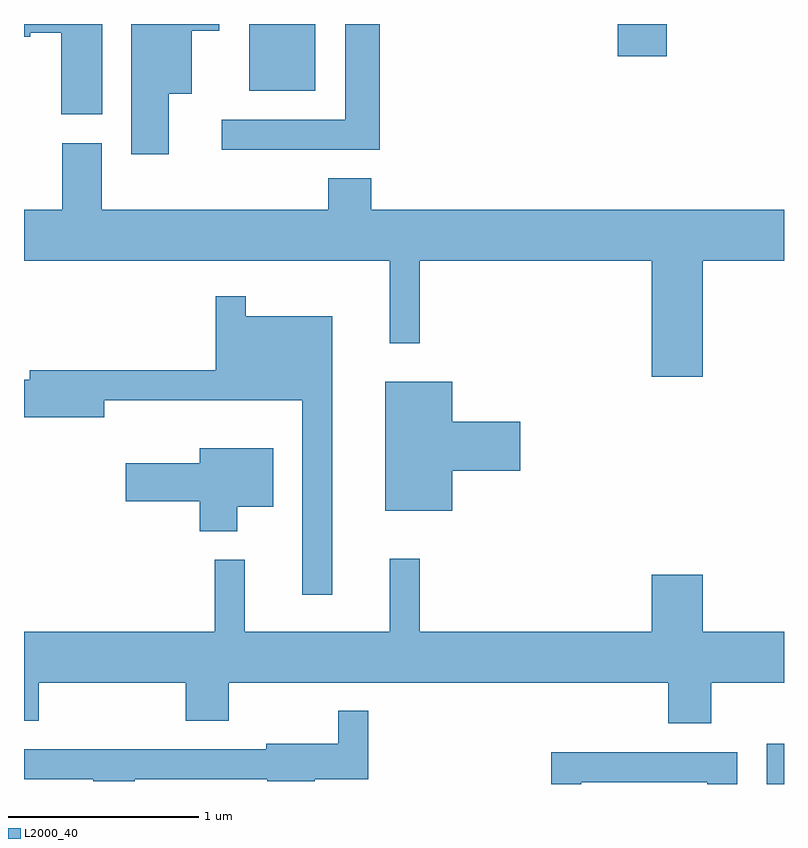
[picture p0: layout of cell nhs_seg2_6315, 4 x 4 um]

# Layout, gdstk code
import gdstk
lib = gdstk.Library(unit=1e-6, precision=1e-09)
def R(c, l, rs):  # rectangles x0, y0, x1, y1
    for r in rs: c.add(gdstk.rectangle(r[:2], r[2:], *l))
def P(c, l, *ps):  # polygons
    for p in ps: c.add(gdstk.Polygon(p, *l))
L2000_40 = (2000, 40)

nhs_seg2_6315 = lib.new_cell('nhs_seg2_6315')
R(nhs_seg2_6315, L2000_40, [(375.521,1027.802,375.611,1028.014), (372.796,1031.451,373.144,1031.802), (374.736,1031.631,374.994,1031.802)])
P(nhs_seg2_6315, L2000_40, [(373.484,1031.802),(373.301,1031.802),(373.301,1031.299),(372.653,1031.299),(372.653,1031.141),(373.484,1031.141)],
  [(372.024,1031.802),(371.611,1031.802),(371.611,1031.736),(371.644,1031.736),(371.644,1031.756),(371.806,1031.756),(371.806,1031.326),(372.024,1031.326)],
  [(372.374,1031.436),(372.494,1031.436),(372.494,1031.766),(372.639,1031.766),(372.639,1031.802),(372.176,1031.802),(372.176,1031.116),(372.374,1031.116)],
  [(375.184,1030.556),(375.611,1030.556),(375.611,1030.824),(373.439,1030.824),(373.439,1030.989),(373.211,1030.989),(373.211,1030.824),(372.019,1030.824),(372.019,1031.174),(371.811,1031.174),(371.811,1030.824),(371.611,1030.824),(371.611,1030.556),(373.536,1030.556),(373.536,1030.123),(373.694,1030.123),(373.694,1030.556),(374.916,1030.556),(374.916,1029.946),(375.184,1029.946)],
  [(373.234,1030.264),(372.779,1030.264),(372.779,1030.368),(372.621,1030.368),(372.621,1029.979),(371.641,1029.979),(371.641,1029.929),(371.611,1029.929),(371.611,1029.731),(372.034,1029.731),(372.034,1029.821),(373.076,1029.821),(373.076,1028.798),(373.234,1028.798)],
  [(373.864,1029.451),(374.224,1029.451),(374.224,1029.709),(373.864,1029.709),(373.864,1029.919),(373.511,1029.919),(373.511,1029.241),(373.864,1029.241)],
  [(372.734,1029.261),(372.924,1029.261),(372.924,1029.569),(372.536,1029.569),(372.536,1029.489),(372.146,1029.489),(372.146,1029.291),(372.536,1029.291),(372.536,1029.131),(372.734,1029.131)],
  [(375.229,1028.336),(375.611,1028.336),(375.611,1028.604),(375.184,1028.604),(375.184,1028.904),(374.916,1028.904),(374.916,1028.604),(373.694,1028.604),(373.694,1028.988),(373.536,1028.988),(373.536,1028.604),(372.774,1028.604),(372.774,1028.983),(372.616,1028.983),(372.616,1028.604),(371.611,1028.604),(371.611,1028.136),(371.689,1028.136),(371.689,1028.336),(372.461,1028.336),(372.461,1028.136),(372.689,1028.136),(372.689,1028.336),(375.001,1028.336),(375.001,1028.121),(375.229,1028.121)],
  [(372.195,1027.826),(372.89,1027.826),(372.89,1027.816),(373.14,1027.816),(373.14,1027.826),(373.424,1027.826),(373.424,1028.188),(373.266,1028.188),(373.266,1028.014),(372.886,1028.014),(372.886,1027.984),(371.611,1027.984),(371.611,1027.826),(371.975,1027.826),(371.975,1027.816),(372.195,1027.816)],
  [(374.544,1027.811),(375.206,1027.811),(375.206,1027.802),(375.364,1027.802),(375.364,1027.969),(374.386,1027.969),(374.386,1027.802),(374.544,1027.802)])

lib.write_gds('nhs_seg2_6315.gds')
